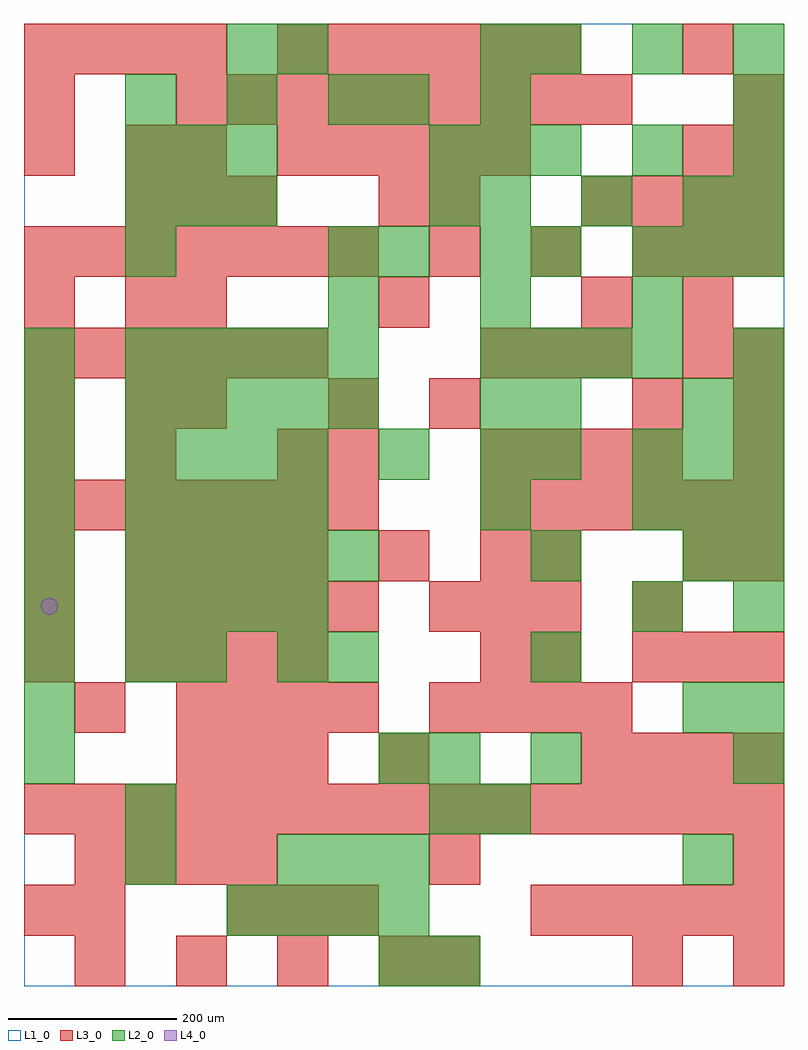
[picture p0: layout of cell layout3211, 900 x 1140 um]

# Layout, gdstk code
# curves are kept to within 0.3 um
import gdstk
lib = gdstk.Library(unit=1e-6, precision=1e-09)
def R(c, l, rs):  # rectangles x0, y0, x1, y1
    for r in rs: c.add(gdstk.rectangle(r[:2], r[2:], *l))
def A(c, l, x, y, w, h, nx, ny, dx, dy):  # array of equal rectangles
    R(c, l, [(x+i*dx, y+j*dy, x+i*dx+w, y+j*dy+h) for i in range(nx) for j in range(ny)])
def P(c, l, *ps):  # polygons
    for p in ps: c.add(gdstk.Polygon(p, *l))
L1_0 = (1, 0)
L2_0 = (2, 0)
L3_0 = (3, 0)
L4_0 = (4, 0)

layout3211 = lib.new_cell('layout3211')
R(layout3211, L1_0, [(0,0,900,1140)])
A(layout3211, L2_0, 240, 60, 60, 60, 4, 1, 60, 0)
A(layout3211, L2_0, 300, 120, 60, 60, 3, 1, 60, 0)
A(layout3211, L2_0, 780, 120, 60, 60, 1, 4, 0, 180)
A(layout3211, L2_0, 0, 240, 60, 60, 1, 9, 0, 60)
A(layout3211, L2_0, 600, 240, 60, 60, 1, 4, 0, 120)
A(layout3211, L2_0, 120, 420, 60, 60, 4, 2, 60, 120)
A(layout3211, L2_0, 120, 480, 60, 60, 5, 2, 60, 180)
A(layout3211, L2_0, 540, 540, 60, 60, 1, 3, 0, 60)
A(layout3211, L2_0, 720, 540, 60, 60, 3, 2, 60, 60)
A(layout3211, L2_0, 120, 600, 60, 60, 4, 1, 60, 0)
A(layout3211, L2_0, 120, 720, 60, 60, 5, 1, 60, 0)
A(layout3211, L2_0, 540, 720, 60, 60, 4, 1, 60, 0)
A(layout3211, L2_0, 360, 780, 60, 60, 3, 1, 180, 0)
A(layout3211, L2_0, 720, 840, 60, 60, 3, 1, 60, 0)
A(layout3211, L2_0, 120, 900, 60, 60, 3, 2, 60, 60)
A(layout3211, L2_0, 540, 900, 60, 60, 3, 1, 120, 0)
A(layout3211, L2_0, 840, 900, 60, 60, 1, 3, 0, 60)
A(layout3211, L2_0, 480, 960, 60, 60, 3, 1, 60, 0)
A(layout3211, L2_0, 120, 1020, 60, 60, 3, 1, 120, 0)
A(layout3211, L2_0, 600, 1080, 60, 60, 3, 1, 120, 0)
R(layout3211, L2_0, [(420,0,480,60), (480,0,540,60), (120,120,180,180), (120,180,180,240), (480,180,540,240), (540,180,600,240), (420,240,480,300), (480,240,540,300), (840,240,900,300), (840,300,900,360), (120,360,180,420), (180,360,240,420), (300,360,360,420), (360,360,420,420), (720,420,780,480), (840,420,900,480), (840,480,900,540), (420,600,480,660), (600,660,660,720), (840,660,900,720), (840,720,900,780), (120,840,180,900), (360,840,420,900), (420,840,480,900), (540,840,600,900), (600,840,660,900), (480,900,540,960), (720,960,780,1020), (420,1020,480,1080), (540,1020,600,1080), (240,1080,300,1140), (300,1080,360,1140), (540,1080,600,1140)])
A(layout3211, L3_0, 60, 0, 60, 60, 4, 1, 120, 0)
A(layout3211, L3_0, 240, 60, 60, 60, 3, 1, 60, 0)
A(layout3211, L3_0, 600, 60, 60, 60, 5, 1, 60, 0)
A(layout3211, L3_0, 60, 120, 60, 60, 4, 1, 60, 0)
A(layout3211, L3_0, 0, 180, 60, 60, 15, 1, 60, 0)
A(layout3211, L3_0, 180, 240, 60, 60, 3, 1, 60, 0)
A(layout3211, L3_0, 660, 240, 60, 60, 4, 2, 60, 660)
A(layout3211, L3_0, 180, 300, 60, 60, 4, 1, 60, 0)
A(layout3211, L3_0, 480, 300, 60, 60, 4, 1, 60, 0)
A(layout3211, L3_0, 0, 360, 60, 60, 1, 3, 0, 60)
A(layout3211, L3_0, 120, 360, 60, 60, 4, 2, 60, 120)
A(layout3211, L3_0, 720, 360, 60, 60, 3, 1, 60, 0)
A(layout3211, L3_0, 120, 420, 60, 60, 5, 1, 60, 0)
A(layout3211, L3_0, 480, 420, 60, 60, 3, 1, 60, 0)
A(layout3211, L3_0, 0, 540, 60, 60, 7, 2, 60, 300)
A(layout3211, L3_0, 540, 540, 60, 60, 6, 1, 60, 0)
A(layout3211, L3_0, 540, 600, 60, 60, 4, 1, 60, 0)
A(layout3211, L3_0, 840, 600, 60, 60, 1, 3, 0, 60)
A(layout3211, L3_0, 0, 720, 60, 60, 6, 1, 60, 0)
A(layout3211, L3_0, 540, 720, 60, 60, 3, 1, 60, 0)
A(layout3211, L3_0, 780, 720, 60, 60, 1, 3, 0, 60)
A(layout3211, L3_0, 180, 780, 60, 60, 3, 1, 240, 0)
A(layout3211, L3_0, 480, 840, 60, 60, 3, 1, 120, 0)
A(layout3211, L3_0, 120, 900, 60, 60, 3, 1, 60, 0)
A(layout3211, L3_0, 300, 960, 60, 60, 5, 1, 60, 0)
A(layout3211, L3_0, 180, 1020, 60, 60, 9, 1, 60, 0)
A(layout3211, L3_0, 0, 1080, 60, 60, 4, 1, 60, 0)
A(layout3211, L3_0, 300, 1080, 60, 60, 6, 1, 60, 0)
R(layout3211, L3_0, [(480,0,540,60), (720,0,780,60), (840,0,900,60), (0,60,60,120), (60,60,120,120), (480,120,540,180), (840,120,900,180), (420,240,480,300), (60,300,120,360), (540,360,600,420), (600,360,660,420), (720,420,780,480), (420,480,480,540), (540,480,600,540), (600,480,660,540), (780,480,840,540), (840,480,900,540), (0,600,60,660), (120,600,180,660), (300,600,360,660), (360,600,420,660), (0,660,60,720), (120,660,180,720), (180,660,240,720), (360,660,420,720), (480,660,540,720), (720,660,780,720), (0,780,60,840), (120,780,180,840), (840,840,900,900), (420,900,480,960), (480,900,540,960), (0,960,60,1020), (120,960,180,1020), (180,960,240,1020), (780,960,840,1020), (840,960,900,1020), (0,1020,60,1080), (840,1020,900,1080), (780,1080,840,1140)])
P(layout3211, L4_0, [(40,450),(39.239,453.827),(37.071,457.071),(33.827,459.239),(30,460),(26.173,459.239),(22.929,457.071),(20.761,453.827),(20,450),(20.761,446.173),(22.929,442.929),(26.173,440.761),(30,440),(33.827,440.761),(37.071,442.929),(39.239,446.173)])

lib.write_gds('layout3211.gds')
